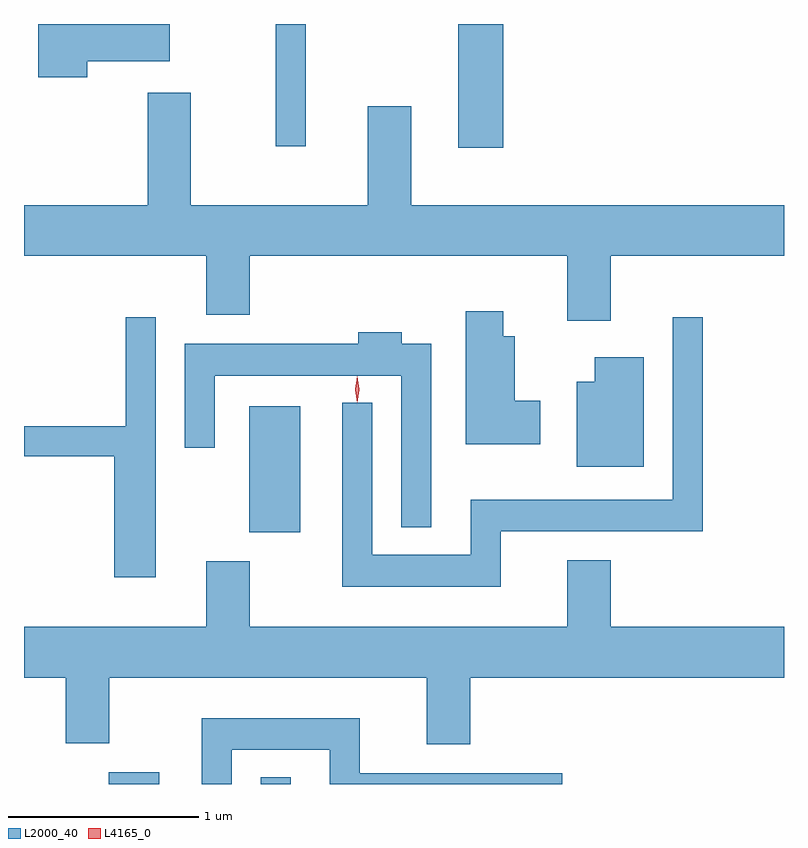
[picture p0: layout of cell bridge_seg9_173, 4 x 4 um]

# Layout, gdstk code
import gdstk
lib = gdstk.Library(unit=1e-6, precision=1e-09)
def R(c, l, rs):  # rectangles x0, y0, x1, y1
    for r in rs: c.add(gdstk.rectangle(r[:2], r[2:], *l))
def P(c, l, *ps):  # polygons
    for p in ps: c.add(gdstk.Polygon(p, *l))
L2000_40 = (2000, 40)
L4165_0 = (4165, 0)

bridge_seg9_173 = lib.new_cell('bridge_seg9_173')
R(bridge_seg9_173, L2000_40, [(1437.376,2077.837,1437.644,2077.899), (1438.176,2077.837,1438.334,2077.873), (1438.116,2079.161,1438.384,2079.824), (1439.216,2081.186,1439.454,2081.837), (1438.256,2081.193,1438.414,2081.837)])
P(bridge_seg9_173, L2000_40, [(1437.264,2081.641),(1437.699,2081.641),(1437.699,2081.837),(1437.006,2081.837),(1437.006,2081.556),(1437.264,2081.556)],
  [(1440.019,2080.616),(1440.931,2080.616),(1440.931,2080.884),(1438.969,2080.884),(1438.969,2081.404),(1438.741,2081.404),(1438.741,2080.884),(1437.809,2080.884),(1437.809,2081.474),(1437.581,2081.474),(1437.581,2080.884),(1436.931,2080.884),(1436.931,2080.616),(1437.891,2080.616),(1437.891,2080.306),(1438.119,2080.306),(1438.119,2080.616),(1439.791,2080.616),(1439.791,2080.276),(1440.019,2080.276)],
  [(1439.649,2079.854),(1439.514,2079.854),(1439.514,2080.194),(1439.454,2080.194),(1439.454,2080.324),(1439.256,2080.324),(1439.256,2079.626),(1439.649,2079.626)],
  [(1439.439,2079.166),(1440.504,2079.166),(1440.504,2080.293),(1440.346,2080.293),(1440.346,2079.334),(1439.281,2079.334),(1439.281,2079.044),(1438.764,2079.044),(1438.764,2079.843),(1438.606,2079.843),(1438.606,2078.876),(1439.439,2078.876)],
  [(1437.624,2080.293),(1437.466,2080.293),(1437.466,2079.719),(1436.931,2079.719),(1436.931,2079.561),(1437.406,2079.561),(1437.406,2078.926),(1437.624,2078.926)],
  [(1439.074,2080.154),(1438.919,2080.154),(1438.919,2080.214),(1438.691,2080.214),(1438.691,2080.154),(1437.776,2080.154),(1437.776,2079.608),(1437.934,2079.608),(1437.934,2079.986),(1438.916,2079.986),(1438.916,2079.188),(1439.074,2079.188)],
  [(1440.194,2080.084),(1439.936,2080.084),(1439.936,2079.954),(1439.841,2079.954),(1439.841,2079.506),(1440.194,2079.506)],
  [(1439.279,2078.396),(1440.931,2078.396),(1440.931,2078.664),(1440.019,2078.664),(1440.019,2079.014),(1439.791,2079.014),(1439.791,2078.664),(1438.119,2078.664),(1438.119,2079.009),(1437.891,2079.009),(1437.891,2078.664),(1436.931,2078.664),(1436.931,2078.396),(1437.151,2078.396),(1437.151,2078.051),(1437.379,2078.051),(1437.379,2078.396),(1439.051,2078.396),(1439.051,2078.046),(1439.279,2078.046)],
  [(1438.024,2078.016),(1438.541,2078.016),(1438.541,2077.837),(1439.764,2077.837),(1439.764,2077.894),(1438.699,2077.894),(1438.699,2078.184),(1437.866,2078.184),(1437.866,2077.837),(1438.024,2077.837)])
P(bridge_seg9_173, L4165_0, [(1438.684,2079.844),(1438.675,2079.913),(1438.684,2079.982),(1438.685,2079.983),(1438.686,2079.982),(1438.695,2079.913),(1438.686,2079.844),(1438.685,2079.844)],
  [(1438.684,2079.847),(1438.675,2079.914),(1438.684,2079.98),(1438.685,2079.98),(1438.685,2079.98),(1438.695,2079.914),(1438.685,2079.847),(1438.685,2079.847)])

lib.write_gds('bridge_seg9_173.gds')
